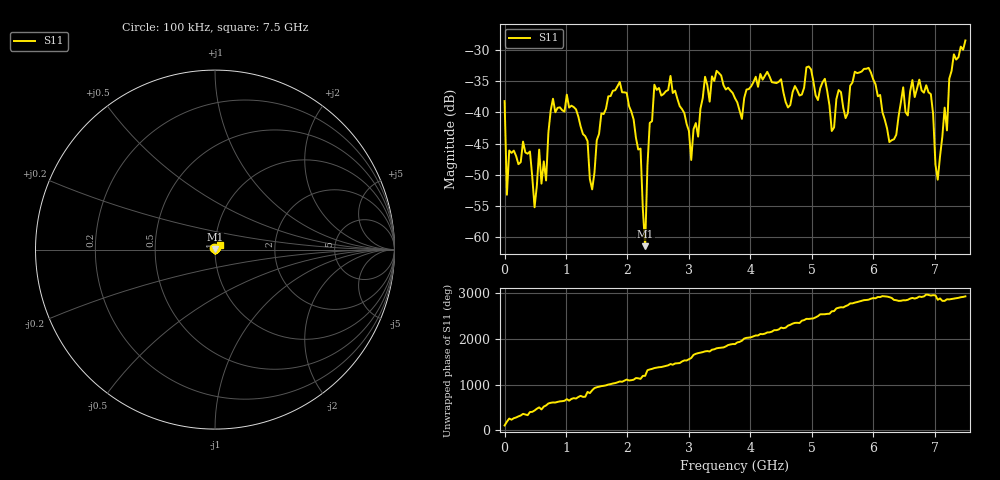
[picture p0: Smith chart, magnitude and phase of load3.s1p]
# Hz S RI R 50.000000
! FREQ  re:S1  1  im:S1  1
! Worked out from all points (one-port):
!   201 points, 100 kHz to 7.5 GHz, reference 50 ohm
!   lowest |S11| = -61.5 dB at 2.288 GHz (marker M1), VSWR 1.00, Z = 50 + j0.0777 ohm
!   |S11| at or under -10 dB: start of sweep to end of sweep
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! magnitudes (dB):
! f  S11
! 100 kHz  -38.2
! 37.6 MHz  -53.2
! 300.1 MHz  -44.7
! 487.6 MHz  -55.3
! 675.1 MHz  -50.9
! 787.6 MHz  -37.8
! 937.6 MHz  -39.6
! 1.425 GHz  -52.4
! 1.875 GHz  -35.1
! 2.213 GHz  -45.8
! 2.288 GHz  -61.5
! 2.363 GHz  -41.7
! 2.438 GHz  -35.5
! 2.85 GHz  -39.0
! 3.038 GHz  -47.6
! 3.263 GHz  -34.2
! 3.75 GHz  -37.7
! 4.688 GHz  -36.7
! 5.213 GHz  -34.6
! 5.325 GHz  -43.0
! 5.625 GHz  -35.7
! 5.925 GHz  -32.8
! 6.263 GHz  -44.8
! 6.6 GHz  -36.7
! 6.938 GHz  -37.0
! 7.05 GHz  -50.8
! 7.313 GHz  -30.6
! 7.5 GHz  -28.4
